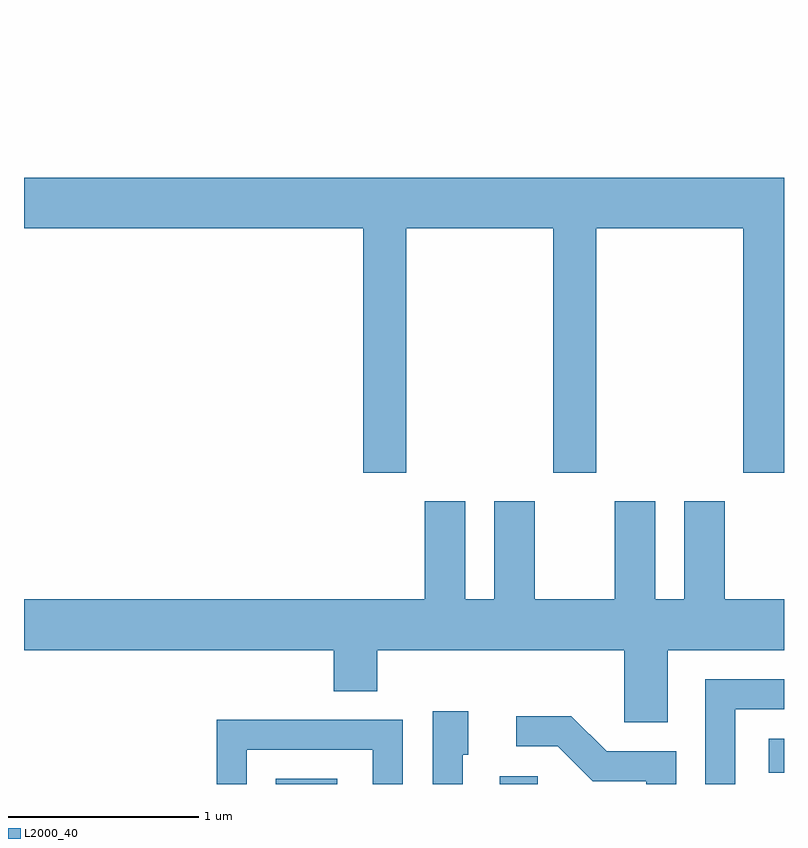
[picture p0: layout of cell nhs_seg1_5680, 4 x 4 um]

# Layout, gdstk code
import gdstk
lib = gdstk.Library(unit=1e-6, precision=1e-09)
def R(c, l, rs):  # rectangles x0, y0, x1, y1
    for r in rs: c.add(gdstk.rectangle(r[:2], r[2:], *l))
def P(c, l, *ps):  # polygons
    for p in ps: c.add(gdstk.Polygon(p, *l))
L2000_40 = (2000, 40)

nhs_seg1_5680 = lib.new_cell('nhs_seg1_5680')
R(nhs_seg1_5680, L2000_40, [(356.936,947.712,357.259,947.739), (358.116,947.712,358.314,947.754), (359.531,947.771,359.611,947.949), (358.086,951.711,358.714,951.712)])
P(nhs_seg1_5680, L2000_40, [(357.624,950.636),(358.396,950.636),(358.396,949.351),(358.624,949.351),(358.624,950.636),(359.396,950.636),(359.396,949.351),(359.611,949.351),(359.611,950.904),(355.611,950.904),(355.611,950.636),(357.396,950.636),(357.396,949.351),(357.624,949.351)],
  [(358.771,948.036),(358.999,948.036),(358.999,948.416),(359.611,948.416),(359.611,948.684),(359.299,948.684),(359.299,949.199),(359.086,949.199),(359.086,948.684),(358.934,948.684),(358.934,949.199),(358.721,949.199),(358.721,948.684),(358.299,948.684),(358.299,949.199),(358.086,949.199),(358.086,948.684),(357.934,948.684),(357.934,949.199),(357.721,949.199),(357.721,948.684),(355.611,948.684),(355.611,948.416),(357.241,948.416),(357.241,948.201),(357.469,948.201),(357.469,948.416),(358.771,948.416)],
  [(359.354,948.106),(359.611,948.106),(359.611,948.264),(359.196,948.264),(359.196,947.712),(359.354,947.712)],
  [(357.919,947.866),(357.949,947.866),(357.949,948.094),(357.761,948.094),(357.761,947.712),(357.919,947.712)],
  [(359.044,947.884),(358.677,947.884),(358.492,948.069),(358.203,948.069),(358.203,947.911),(358.419,947.911),(358.604,947.726),(358.886,947.726),(358.886,947.712),(359.044,947.712)],
  [(356.784,947.891),(357.446,947.891),(357.446,947.712),(357.604,947.712),(357.604,948.049),(356.626,948.049),(356.626,947.712),(356.784,947.712)])

lib.write_gds('nhs_seg1_5680.gds')
